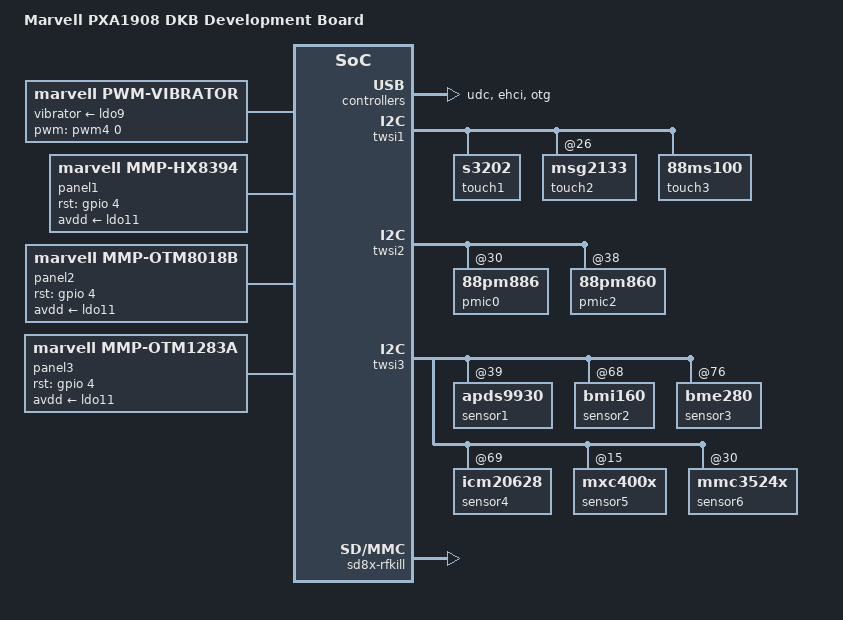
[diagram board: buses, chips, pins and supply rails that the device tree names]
/*
 *  Copyright (C) 2014 Marvell Technology Group Ltd.
 *  Author: Dongjiu Geng <djgeng@marvell.com>
 *
 *  This program is free software; you can redistribute it and/or modify
 *  it under the terms of the GNU General Public License version 2 as
 *  publishhed by the Free Software Foundation.
 */

/memreserve/ 0x08100000 0x00040000;     /* ramoops buffer (256KB) */
/memreserve/ 0x09000000 0x01000000;	/* GPU Reserved mem (16MB) */
/memreserve/ 0x17000000 0x01800000;     /* Frame buffer (24MB) */
/memreserve/ 0x0a000000 0x00080000;     /* CM3 shared buffer(512KB) */
#include "pxa1908-board-common.dtsi"

/ {
	model = "Marvell PXA1908 DKB Development Board";

	soc {
		axi@d4200000 {  /* AXI */
			usbphy: usbphy@d4207000 {
				status = "okay";
			};

			udc: udc@d4208100 {
				status = "okay";
			};

			ehci: ehci@d4208100 {
				status = "okay";
			};

			otg: otg@d4208100 {
				status = "okay";
			};
		};

		apb@d4000000 {
			keypad: keypad@d4012000 {
				marvell,direct-keys;
				marvell,direct-key-low-active;
				marvell,keypad-lpm-mod;
				marvell,direct-key-count = <2>;
				marvell,direct-key-mask = <0xff>;
				marvell,direct-key-map = < 0x73
							   0x72>;
				marvell,debounce-interval = <30>;
				pinctrl-names = "default";
				pinctrl-0 = <&keypad_in_func>;
				status = "okay";
			};

			keyreset {
				compatible = "marvell,keyreset";
				keys-down = <0x73 0x72>;
				keyreset-need-panic;
				status = "okay";
			};

			twsi1: i2c@d4010800 {
				touch1: s3202@720p {
					status = "okay";
				};
				touch2: msg2133@26 {
					status = "okay";
				};
				touch3: 88ms100@720p {
					status = "okay";
				};
			};

			twsi2: i2c@d4037000 {

				pmic0: 88pm886@30 {
					status = "okay";
				};
				pmic2: 88pm860@38 {
					status = "okay";
				};
			};

			twsi3: i2c@d4013800 {
				sensor1: apds9930@39 {
					status = "okay";
				};
				sensor2: bmi160@68 {
					status = "okay";
				};
				sensor3: bme280@76 {
					status = "okay";
				};
				sensor4: icm20628@69 {
					status = "okay";
				};
				sensor5: mxc400x@15 {
					status = "okay";
				};
				sensor6: mmc3524x@30 {
					status = "okay";
				};
			};
		};
	};

	sd8x-rfkill {
		sd-host = <&sdh1>;
		pd-gpio = <&gpio 7 0>;
		rst-gpio = <&gpio 71 0>;
		wib_3v3-supply = <&ldo15>;
		wib_1v8-supply = <&buck2>;
		3v3-ldo-gpio = <&gpio 14 0>;
		edge-wakeup-gpio = <&gpio 39 0>;
		marvell,sdh-tuning-dvfs;
		status = "okay";
	};

	vibrator {
		compatible = "marvell,pwm-vibrator";
		pwms = <&pwm4 0 1000>;
		min_timeout = <0>;
		duty_cycle = <800>;
		vibrator-supply = <&ldo9>;
	};

	panel1: hx8394 {
		compatible = "marvell,mmp-hx8394";
		marvell,path-name = "mmp_pnpath";
		panel_esd = <0>;
		rst_gpio = <&gpio 4 0>;
		avdd-supply = <&ldo11>;
		status = "okay";
	};

	panel2: otm8018b {
		compatible = "marvell,mmp-otm8018b";
		marvell,path-name = "mmp_pnpath";
		panel_esd = <0>;
		rst_gpio = <&gpio 4 0>;
		avdd-supply = <&ldo11>;
		status = "okay";
	};

	panel3: otm1283a {
		compatible = "marvell,mmp-otm1283a";
		marvell,path-name = "mmp_pnpath";
		panel_esd = <0>;
		rst_gpio = <&gpio 4 0>;
		avdd-supply = <&ldo11>;
		status = "okay";
	};

};
#include "88pm88x.dtsi"
#include "88pm886.dtsi"
#include "88pm88x_battery_common.dtsi"
#include "88pm88x_sp4555557sa.dtsi"
#include "88pm886_pxa1908_dkb.dtsi"
